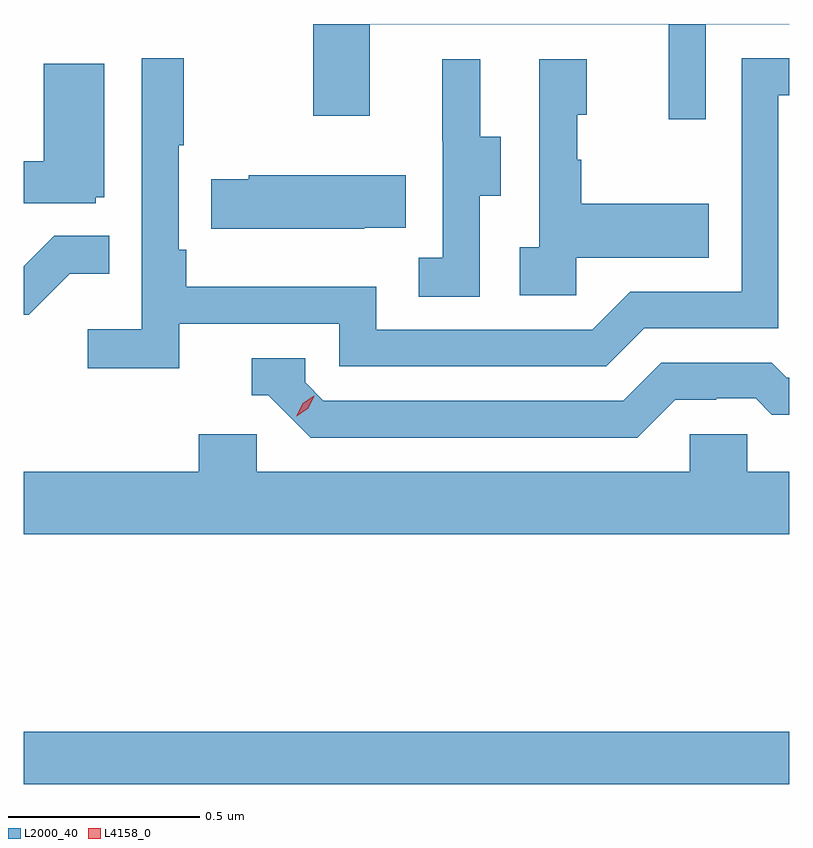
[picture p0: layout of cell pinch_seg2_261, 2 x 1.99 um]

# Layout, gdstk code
import gdstk
lib = gdstk.Library(unit=1e-6, precision=1e-09)
def R(c, l, rs):  # rectangles x0, y0, x1, y1
    for r in rs: c.add(gdstk.rectangle(r[:2], r[2:], *l))
def P(c, l, *ps):  # polygons
    for p in ps: c.add(gdstk.Polygon(p, *l))
L2000_40 = (2000, 40)
L4158_0 = (4158, 0)

pinch_seg2_261 = lib.new_cell('pinch_seg2_261')
R(pinch_seg2_261, L2000_40, [(941.847,662.968,943.847,663.104)])
P(pinch_seg2_261, L2000_40, [(943.629,664.952),(943.847,664.952),(943.847,664.953),(941.847,664.953),(941.847,664.952),(942.604,664.952),(942.604,664.713),(942.751,664.713),(942.751,664.952),(943.532,664.952),(943.532,664.704),(943.629,664.704)],
  [(942.254,664.17),(942.672,664.17),(942.672,664.059),(943.369,664.059),(943.468,664.158),(943.818,664.158),(943.818,664.767),(943.847,664.767),(943.847,664.863),(943.722,664.863),(943.722,664.254),(943.431,664.254),(943.332,664.155),(942.768,664.155),(942.768,664.267),(942.272,664.267),(942.272,664.363),(942.252,664.363),(942.252,664.636),(942.265,664.636),(942.265,664.864),(942.156,664.864),(942.156,664.156),(942.015,664.156),(942.015,664.054),(942.254,664.054)],
  [(943.29,664.343),(943.637,664.343),(943.637,664.483),(943.303,664.483),(943.303,664.598),(943.293,664.598),(943.293,664.716),(943.318,664.716),(943.318,664.861),(943.194,664.861),(943.194,664.37),(943.143,664.37),(943.143,664.245),(943.29,664.245)],
  [(943.038,664.504),(943.093,664.504),(943.093,664.659),(943.039,664.659),(943.039,664.861),(942.941,664.861),(942.941,664.647),(942.942,664.647),(942.942,664.343),(942.879,664.343),(942.879,664.24),(943.038,664.24)],
  [(942.036,664.5),(942.058,664.5),(942.058,664.849),(941.9,664.849),(941.9,664.594),(941.847,664.594),(941.847,664.485),(942.036,664.485)],
  [(942.737,664.421),(942.845,664.421),(942.845,664.558),(942.435,664.558),(942.435,664.548),(942.337,664.548),(942.337,664.418),(942.737,664.418)],
  [(941.967,664.301),(942.071,664.301),(942.071,664.4),(941.927,664.4),(941.847,664.32),(941.847,664.194),(941.86,664.194)],
  [(943.549,663.972),(943.656,663.972),(943.656,663.975),(943.759,663.975),(943.801,663.933),(943.847,663.933),(943.847,664.029),(943.84,664.029),(943.801,664.068),(943.512,664.068),(943.413,663.969),(942.63,663.969),(942.582,664.017),(942.582,664.08),(942.443,664.08),(942.443,663.984),(942.486,663.984),(942.597,663.873),(943.45,663.873)],
  [(943.847,663.784),(943.737,663.784),(943.737,663.882),(943.587,663.882),(943.587,663.784),(942.456,663.784),(942.456,663.882),(942.305,663.882),(942.305,663.784),(941.847,663.784),(941.847,663.62),(943.847,663.62)])
P(pinch_seg2_261, L4158_0, [(942.561,663.929),(942.561,663.93),(942.576,663.962),(942.606,663.982),(942.606,663.982),(942.606,663.982),(942.591,663.949),(942.561,663.929)])

lib.write_gds('pinch_seg2_261.gds')
